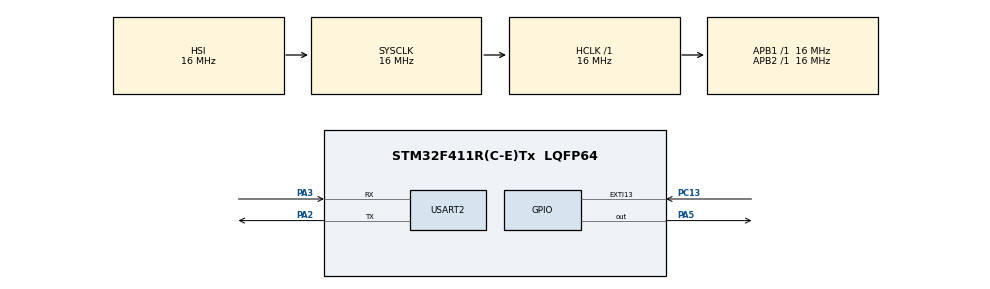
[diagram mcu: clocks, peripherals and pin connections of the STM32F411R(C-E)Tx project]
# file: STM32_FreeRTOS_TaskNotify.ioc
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Mcu.Family=STM32F4
Mcu.Name=STM32F411R(C-E)Tx
Mcu.Package=LQFP64
NVIC.EXTI15_10_IRQn=true\:0\:0\:false\:false\:true\:true\:true
NVIC.PriorityGroup=NVIC_PRIORITYGROUP_4
NVIC.TIM2_IRQn=true\:0\:0\:false\:false\:true\:false\:true
NVIC.TimeBase=TIM2_IRQn
NVIC.TimeBaseIP=TIM2
PA2.Mode=Asynchronous
PA2.Signal=USART2_TX
PA3.Mode=Asynchronous
PA3.Signal=USART2_RX
PA5.Signal=GPIO_Output
PC13-ANTI_TAMP.Signal=GPXTI13
ProjectManager.HeapSize=0x200
ProjectManager.StackSize=0x400
ProjectManager.TargetToolchain=STM32CubeIDE
RCC.AHBFreq_Value=16000000
RCC.APB1Freq_Value=16000000
RCC.APB2Freq_Value=16000000
RCC.CortexFreq_Value=16000000
RCC.HSE_VALUE=25000000
RCC.HSI_VALUE=16000000
RCC.LSE_VALUE=32768
RCC.SYSCLKFreq_VALUE=16000000
RCC.VCOOutputFreq_Value=192000000
USART2.VirtualMode=VM_ASYNC
VP_SYS_VS_tim2.Mode=TIM2
board=custom

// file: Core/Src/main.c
/* USER CODE BEGIN Header */
/**
 ******************************************************************************
 * @file           : main.c
 * @brief          : Main program body
 ******************************************************************************
 * @attention
 *
 * <h2><center>&copy; Copyright (c) 2021 STMicroelectronics.
 * All rights reserved.</center></h2>
 *
 * This software component is licensed by ST under BSD 3-Clause license,
 * the "License"; You may not use this file except in compliance with the
 * License. You may obtain a copy of the License at:
 *                        opensource.org/licenses/BSD-3-Clause
 *
 ******************************************************************************
 */
/* USER CODE END Header */

#include "main.h"

/* USER CODE BEGIN Includes */
#include "FreeRTOS.h"
#include "task.h"
#include "stdio.h"
#include "string.h"
/* USER CODE END Includes */

/* USER CODE BEGIN PM */
#define PRESSED 	1
#define NOT_PRESSED 0
/* USER CODE END PM */

UART_HandleTypeDef huart2;

void SystemClock_Config(void);
static void MX_GPIO_Init(void);
static void MX_USART2_UART_Init(void);
/* USER CODE BEGIN PFP */
void vButtonTask_handler(void);
void vLEDTask_handler(void);
void toggle_LED(void);
void rtos_delay(uint32_t delay_in_ms);
void printmsg(const char *msg);
/* USER CODE END PFP */

/* USER CODE BEGIN 0 */
TaskHandle_t xTaskHandle_button = NULL;
TaskHandle_t xTaskHandle_led = NULL;
char usr_msg[50];
_Bool button_status = NOT_PRESSED;
/* USER CODE END 0 */

int main(void)
{

  /* MCU Configuration--------------------------------------------------------*/

  /* Reset of all peripherals, Initializes the Flash interface and the Systick. */
  HAL_Init();

  /* Configure the system clock */
  SystemClock_Config();

  /* Initialize all configured peripherals */
  MX_GPIO_Init();
  MX_USART2_UART_Init();
  /* USER CODE BEGIN 2 */

  xTaskCreate((pdTASK_CODE) vButtonTask_handler, "Button Task", 1000, NULL, 1,
			&xTaskHandle_button);
  xTaskCreate((pdTASK_CODE) vLEDTask_handler, "LED Task", 1000, NULL, 1,
			&xTaskHandle_led);

  vTaskStartScheduler();
  /* USER CODE END 2 */

  /* Infinite loop */
	while (1) {

	}
}

void SystemClock_Config(void)
{
  RCC_OscInitTypeDef RCC_OscInitStruct = {0};
  RCC_ClkInitTypeDef RCC_ClkInitStruct = {0};

  /** Configure the main internal regulator output voltage
  */
  __HAL_RCC_PWR_CLK_ENABLE();
  __HAL_PWR_VOLTAGESCALING_CONFIG(PWR_REGULATOR_VOLTAGE_SCALE1);
  /** Initializes the CPU, AHB and APB busses clocks
  */
  RCC_OscInitStruct.OscillatorType = RCC_OSCILLATORTYPE_HSI;
  RCC_OscInitStruct.HSIState = RCC_HSI_ON;
  RCC_OscInitStruct.HSICalibrationValue = RCC_HSICALIBRATION_DEFAULT;
  RCC_OscInitStruct.PLL.PLLState = RCC_PLL_NONE;
  if (HAL_RCC_OscConfig(&RCC_OscInitStruct) != HAL_OK)
  {
    Error_Handler();
  }
  /** Initializes the CPU, AHB and APB busses clocks
  */
  RCC_ClkInitStruct.ClockType = RCC_CLOCKTYPE_HCLK|RCC_CLOCKTYPE_SYSCLK
                              |RCC_CLOCKTYPE_PCLK1|RCC_CLOCKTYPE_PCLK2;
  RCC_ClkInitStruct.SYSCLKSource = RCC_SYSCLKSOURCE_HSI;
  RCC_ClkInitStruct.AHBCLKDivider = RCC_SYSCLK_DIV1;
  RCC_ClkInitStruct.APB1CLKDivider = RCC_HCLK_DIV1;
  RCC_ClkInitStruct.APB2CLKDivider = RCC_HCLK_DIV1;

  if (HAL_RCC_ClockConfig(&RCC_ClkInitStruct, FLASH_LATENCY_0) != HAL_OK)
  {
    Error_Handler();
  }
}

static void MX_USART2_UART_Init(void)
{

  huart2.Instance = USART2;
  huart2.Init.BaudRate = 115200;
  huart2.Init.WordLength = UART_WORDLENGTH_8B;
  huart2.Init.StopBits = UART_STOPBITS_1;
  huart2.Init.Parity = UART_PARITY_NONE;
  huart2.Init.Mode = UART_MODE_TX_RX;
  huart2.Init.HwFlowCtl = UART_HWCONTROL_NONE;
  huart2.Init.OverSampling = UART_OVERSAMPLING_16;
  if (HAL_UART_Init(&huart2) != HAL_OK)
  {
    Error_Handler();
  }

}

static void MX_GPIO_Init(void)
{
  GPIO_InitTypeDef GPIO_InitStruct = {0};

  /* GPIO Ports Clock Enable */
  __HAL_RCC_GPIOC_CLK_ENABLE();
  __HAL_RCC_GPIOA_CLK_ENABLE();

  /*Configure GPIO pin Output Level */
  HAL_GPIO_WritePin(GPIOA, GPIO_PIN_5, GPIO_PIN_RESET);

  /*Configure GPIO pin : PC13 */
  GPIO_InitStruct.Pin = GPIO_PIN_13;
  GPIO_InitStruct.Mode = GPIO_MODE_IT_RISING;
  GPIO_InitStruct.Pull = GPIO_NOPULL;
  HAL_GPIO_Init(GPIOC, &GPIO_InitStruct);

  /*Configure GPIO pin : PA5 */
  GPIO_InitStruct.Pin = GPIO_PIN_5;
  GPIO_InitStruct.Mode = GPIO_MODE_OUTPUT_PP;
  GPIO_InitStruct.Pull = GPIO_NOPULL;
  GPIO_InitStruct.Speed = GPIO_SPEED_FREQ_LOW;
  HAL_GPIO_Init(GPIOA, &GPIO_InitStruct);

  /* EXTI interrupt init*/
  HAL_NVIC_SetPriority(EXTI15_10_IRQn, 10, 0);
  HAL_NVIC_EnableIRQ(EXTI15_10_IRQn);

}

/* USER CODE BEGIN 4 */
void vLEDTask_handler(void) {
	uint32_t current_notification_value = 0;
	while (1) {
		//wait until we receive any notification event from button task
		if (xTaskNotifyWait((uint32_t) 0, (uint32_t) 0, &current_notification_value,
				portMAX_DELAY) == pdTRUE) {
			toggle_LED();
			sprintf(usr_msg, "Notification received - Button Press Count = %lu\r\n", current_notification_value);
			printmsg(usr_msg);
		}
	}
}

void vButtonTask_handler(void) {
	while (1) {
		if(button_status == PRESSED)
		{
			xTaskNotify(xTaskHandle_led, (uint32_t) 0, eIncrement);
			button_status = NOT_PRESSED;
		}
	}
}

void toggle_LED(void) {
	if (!HAL_GPIO_ReadPin(GPIOA, GPIO_PIN_5))
		HAL_GPIO_WritePin(GPIOA, GPIO_PIN_5, GPIO_PIN_SET);
	else
		HAL_GPIO_WritePin(GPIOA, GPIO_PIN_5, GPIO_PIN_RESET);
}

void HAL_GPIO_EXTI_Callback(uint16_t GPIO_Pin)
{
	if(GPIO_Pin == GPIO_PIN_13)
	{
		button_status = PRESSED;
		rtos_delay(100); //100ms delay - for button debounce
	}
}

void rtos_delay(uint32_t delay_in_ms)
{
	uint32_t current_ticks = xTaskGetTickCountFromISR();
	uint32_t delay_in_ticks = pdMS_TO_TICKS(delay_in_ms);
	while(xTaskGetTickCountFromISR() < (current_ticks + delay_in_ticks));
}

void printmsg(const char *msg) {
	while (HAL_UART_GetState(&huart2) == HAL_UART_STATE_BUSY_TX);
	HAL_UART_Transmit(&huart2, (uint8_t*) msg, (uint16_t) strlen(msg),
			HAL_MAX_DELAY);
}

/* USER CODE END 4 */

 /**
  * @brief  Period elapsed callback in non blocking mode
  * @note   This function is called  when TIM2 interrupt took place, inside
  * HAL_TIM_IRQHandler(). It makes a direct call to HAL_IncTick() to increment
  * a global variable "uwTick" used as application time base.
  * @param  htim : TIM handle
  * @retval None
  */
void HAL_TIM_PeriodElapsedCallback(TIM_HandleTypeDef *htim)
{
  if (htim->Instance == TIM2) {
    HAL_IncTick();
  }
}

void Error_Handler(void)
{
}

/************************ (C) COPYRIGHT STMicroelectronics *****END OF FILE****/
